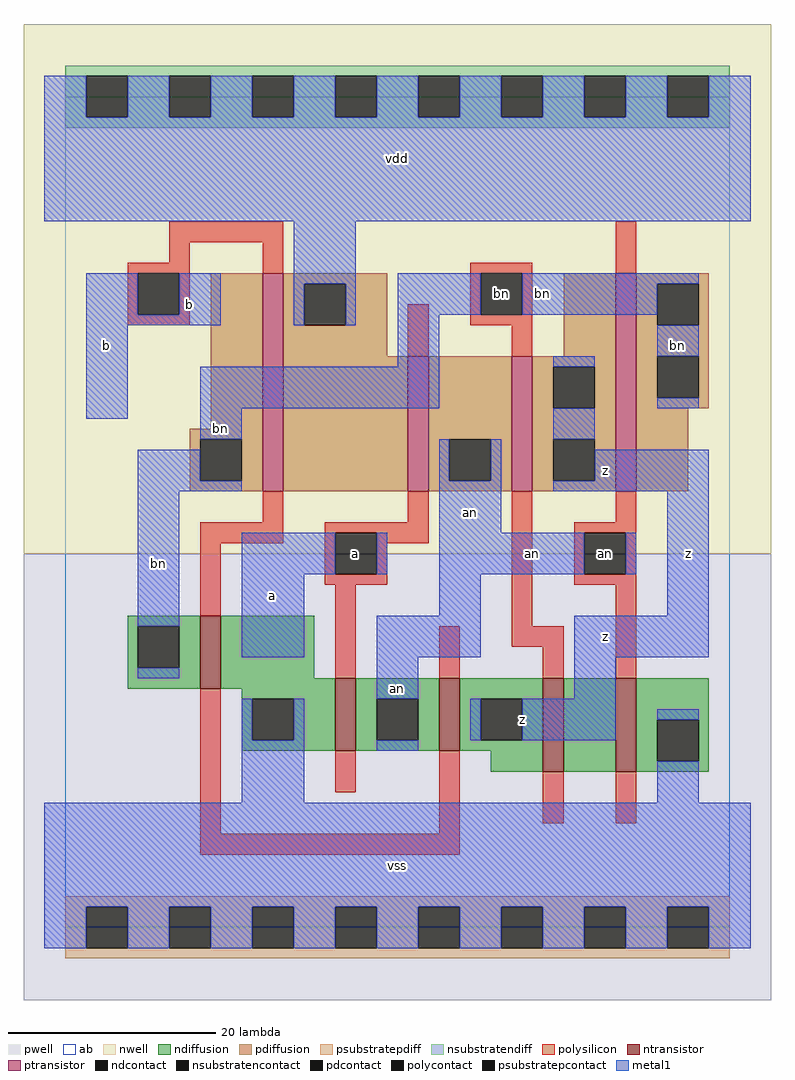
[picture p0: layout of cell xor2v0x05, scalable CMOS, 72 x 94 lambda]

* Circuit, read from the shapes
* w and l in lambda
.subckt xor2v0x05 a an b bn vdd vss z
M1 vss b bn vss nfet w=7 l=2
M2 an a vss vss nfet w=7 l=2
M3 z b an vss nfet w=7 l=2
M4 n1 bn z vss nfet w=9 l=2
M5 vss an n1 vss nfet w=9 l=2
M6 vdd b bn vdd pfet w=21 l=2
M7 an a vdd vdd pfet w=13 l=2
M8 z bn an vdd pfet w=13 l=2
M9 bn an z vdd pfet w=21 l=2
.ends

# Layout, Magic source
magic
tech scmos
<< ab >>
rect 0 0 64 80
<< pwell >>
rect -4 -7 68 36
<< nwell >>
rect -4 36 68 87
<< polysilicon >>
rect 10 66 21 68
rect 10 64 12 66
rect 6 63 12 64
rect 19 63 21 66
rect 39 63 45 64
rect 53 63 55 68
rect 6 59 7 63
rect 11 59 12 63
rect 6 58 12 59
rect 33 55 35 60
rect 39 59 40 63
rect 44 59 45 63
rect 39 58 45 59
rect 43 55 45 58
rect 19 39 21 42
rect 33 39 35 42
rect 13 37 21 39
rect 25 38 35 39
rect 13 30 15 37
rect 25 34 26 38
rect 30 37 35 38
rect 30 34 31 37
rect 25 33 31 34
rect 26 24 28 33
rect 43 29 45 42
rect 53 39 55 42
rect 49 38 55 39
rect 49 34 50 38
rect 54 34 55 38
rect 49 33 55 34
rect 36 24 38 29
rect 43 27 48 29
rect 46 24 48 27
rect 53 24 55 33
rect 13 9 15 23
rect 26 13 28 17
rect 36 9 38 17
rect 46 10 48 15
rect 53 10 55 15
rect 13 7 38 9
<< ndiffusion >>
rect 6 29 13 30
rect 6 25 7 29
rect 11 25 13 29
rect 6 23 13 25
rect 15 24 24 30
rect 15 23 26 24
rect 17 22 26 23
rect 17 18 18 22
rect 22 18 26 22
rect 17 17 26 18
rect 28 22 36 24
rect 28 18 30 22
rect 34 18 36 22
rect 28 17 36 18
rect 38 22 46 24
rect 38 18 40 22
rect 44 18 46 22
rect 38 17 46 18
rect 41 15 46 17
rect 48 15 53 24
rect 55 20 62 24
rect 55 16 57 20
rect 61 16 62 20
rect 55 15 62 16
<< pdiffusion >>
rect 14 48 19 63
rect 12 47 19 48
rect 12 43 13 47
rect 17 43 19 47
rect 12 42 19 43
rect 21 62 31 63
rect 21 58 23 62
rect 27 58 31 62
rect 21 55 31 58
rect 48 55 53 63
rect 21 42 33 55
rect 35 47 43 55
rect 35 43 37 47
rect 41 43 43 47
rect 35 42 43 43
rect 45 54 53 55
rect 45 50 47 54
rect 51 50 53 54
rect 45 47 53 50
rect 45 43 47 47
rect 51 43 53 47
rect 45 42 53 43
rect 55 62 62 63
rect 55 58 57 62
rect 61 58 62 62
rect 55 55 62 58
rect 55 51 57 55
rect 61 51 62 55
rect 55 50 62 51
rect 55 42 60 50
<< metal1 >>
rect -2 78 2 82
rect 6 78 10 82
rect 14 78 18 82
rect 22 78 26 82
rect 30 78 34 82
rect 38 78 42 82
rect 46 78 50 82
rect 54 78 58 82
rect 62 78 66 82
rect -2 68 66 78
rect 2 59 7 63
rect 11 59 15 63
rect 2 58 15 59
rect 22 62 28 68
rect 22 58 23 62
rect 27 58 28 62
rect 32 59 40 63
rect 44 62 61 63
rect 44 59 57 62
rect 2 49 6 58
rect 32 54 36 59
rect 57 55 61 58
rect 13 50 36 54
rect 47 54 51 55
rect 57 50 61 51
rect 13 47 17 50
rect 47 47 51 50
rect 7 43 13 46
rect 7 42 17 43
rect 36 43 37 47
rect 41 43 42 47
rect 7 29 11 42
rect 36 38 42 43
rect 51 43 62 46
rect 47 42 62 43
rect 17 34 26 38
rect 30 34 31 38
rect 36 34 50 38
rect 54 34 55 38
rect 17 26 23 34
rect 36 30 40 34
rect 58 30 62 42
rect 30 26 40 30
rect 49 26 62 30
rect 7 24 11 25
rect 30 22 34 26
rect 49 22 53 26
rect 17 18 18 22
rect 22 18 23 22
rect 17 12 23 18
rect 39 18 40 22
rect 44 18 53 22
rect 57 20 61 21
rect 30 17 34 18
rect 57 12 61 16
rect -2 2 66 12
rect -2 -2 2 2
rect 6 -2 10 2
rect 14 -2 18 2
rect 22 -2 26 2
rect 30 -2 34 2
rect 38 -2 42 2
rect 46 -2 50 2
rect 54 -2 58 2
rect 62 -2 66 2
<< ntransistor >>
rect 13 23 15 30
rect 26 17 28 24
rect 36 17 38 24
rect 46 15 48 24
rect 53 15 55 24
<< ptransistor >>
rect 19 42 21 63
rect 33 42 35 55
rect 43 42 45 55
rect 53 42 55 63
<< polycontact >>
rect 7 59 11 63
rect 40 59 44 63
rect 26 34 30 38
rect 50 34 54 38
<< ndcontact >>
rect 7 25 11 29
rect 18 18 22 22
rect 30 18 34 22
rect 40 18 44 22
rect 57 16 61 20
<< pdcontact >>
rect 13 43 17 47
rect 23 58 27 62
rect 37 43 41 47
rect 47 50 51 54
rect 47 43 51 47
rect 57 58 61 62
rect 57 51 61 55
<< psubstratepcontact >>
rect 2 -2 6 2
rect 10 -2 14 2
rect 18 -2 22 2
rect 26 -2 30 2
rect 34 -2 38 2
rect 42 -2 46 2
rect 50 -2 54 2
rect 58 -2 62 2
<< nsubstratencontact >>
rect 2 78 6 82
rect 10 78 14 82
rect 18 78 22 82
rect 26 78 30 82
rect 34 78 38 82
rect 42 78 46 82
rect 50 78 54 82
rect 58 78 62 82
<< psubstratepdiff >>
rect 0 2 64 3
rect 0 -2 2 2
rect 6 -2 10 2
rect 14 -2 18 2
rect 22 -2 26 2
rect 30 -2 34 2
rect 38 -2 42 2
rect 46 -2 50 2
rect 54 -2 58 2
rect 62 -2 64 2
rect 0 -3 64 -2
<< nsubstratendiff >>
rect 0 82 64 83
rect 0 78 2 82
rect 6 78 10 82
rect 14 78 18 82
rect 22 78 26 82
rect 30 78 34 82
rect 38 78 42 82
rect 46 78 50 82
rect 54 78 58 82
rect 62 78 64 82
rect 0 77 64 78
<< labels >>
rlabel polycontact 52 36 52 36 6 an
rlabel polycontact 42 61 42 61 6 bn
rlabel metal1 4 56 4 56 6 b
rlabel metal1 20 32 20 32 6 a
rlabel metal1 9 35 9 35 6 bn
rlabel metal1 15 48 15 48 6 bn
rlabel metal1 12 60 12 60 6 b
rlabel metal1 32 6 32 6 6 vss
rlabel metal1 32 23 32 23 6 an
rlabel polycontact 28 36 28 36 6 a
rlabel metal1 32 74 32 74 6 vdd
rlabel metal1 44 20 44 20 6 z
rlabel metal1 39 40 39 40 6 an
rlabel metal1 52 28 52 28 6 z
rlabel metal1 52 44 52 44 6 z
rlabel metal1 45 36 45 36 6 an
rlabel metal1 60 36 60 36 6 z
rlabel metal1 59 56 59 56 6 bn
rlabel metal1 46 61 46 61 6 bn
<< end >>
